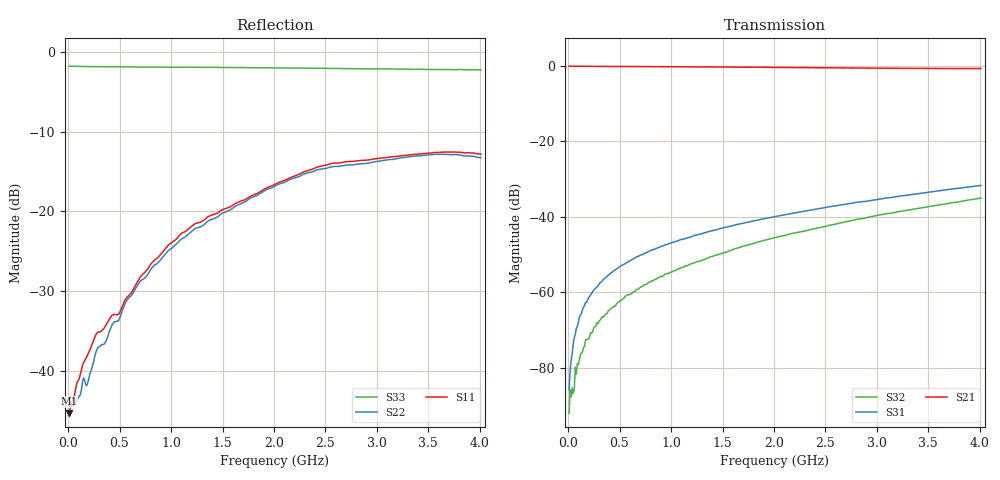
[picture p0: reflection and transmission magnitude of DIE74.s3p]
!Keysight Technologies,N5232A,MY52221226,A.10.49.03
!Date: Wednesday, April 13, 2016 22:14:20
!Correction: S11(Full 6 Port(1,2,3,4,5,6))
!S12(Full 6 Port(1,2,3,4,5,6))
!S13(Full 6 Port(1,2,3,4,5,6))
!S21(Full 6 Port(1,2,3,4,5,6))
!S22(Full 6 Port(1,2,3,4,5,6))
!S23(Full 6 Port(1,2,3,4,5,6))
!S31(Full 6 Port(1,2,3,4,5,6))
!S32(Full 6 Port(1,2,3,4,5,6))
!S33(Full 6 Port(1,2,3,4,5,6))
!S3P File: Measurements: <S11,S12,S13>,
!<S21,S22,S23>,
!<S31,S32,S33>:
# Hz S  dB  R 50
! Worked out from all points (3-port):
!   401 points, 10 MHz to 4.01 GHz, reference 50 ohm
!   strongest paths, dB at 10 MHz, 1.01 GHz, 2.01 GHz, 3.01 GHz, 4.01 GHz:
!     S21: -0.1, -0.3, -0.4, -0.6, -0.7
!     S31: -85.9, -46.8, -40.0, -35.4, -31.7
!     S32: -92.1, -54.6, -45.5, -39.6, -35.0
!   lowest |S11| = -45.3 dB at 10 MHz (marker M1), VSWR 1.01, Z = 50.5 - j0.0934 ohm
!   |S11| at or under -10 dB: start of sweep to end of sweep
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1e7  -45.33 -9.8  -0.11 -0.9  -84.70 70.1
     -0.11 -0.9  -44.34 -7.3  -97.14 41.3
     -85.85 73.4  -92.08 9.5  -1.79 179.2
8e7  -41.83 -26.5  -0.14 -6.4  -69.65 82.8
     -0.14 -6.4  -43.88 -32.2  -80.81 59.9
     -69.60 83.9  -81.73 90.2  -1.81 173.8
1.6e8  -38.75 -54.6  -0.15 -12.6  -63.46 81.0
       -0.15 -12.6  -41.13 -72.3  -74.60 88.8
       -63.43 80.4  -74.38 89.2  -1.83 167.7
4.6e8  -32.96 -101.6  -0.18 -35.9  -54.05 63.2
       -0.19 -35.9  -33.84 -110.8  -63.46 81.3
       -54.05 63.8  -63.65 78.2  -1.85 145.2
1.21e9  -21.74 -172.4  -0.29 -94.0  -45.19 18.5
        -0.29 -93.9  -22.40 174.7  -52.41 39.2
        -45.19 18.4  -52.36 39.1  -1.93 89.8
2.01e9  -16.58 119.5  -0.45 -155.7  -39.98 -32.2
        -0.45 -155.6  -16.80 109.5  -45.57 -10.3
        -39.98 -32.3  -45.51 -10.5  -2.01 31.6
2.55e9  -14.03 80.4  -0.58 162.9  -37.30 -67.5
        -0.59 163.0  -14.43 66.5  -42.24 -47.1
        -37.30 -67.5  -42.23 -47.4  -2.08 -7.5
3.15e9  -13.15 31.5  -0.66 117.0  -34.84 -107.8
        -0.67 117.0  -13.49 22.0  -38.96 -88.5
        -34.85 -107.9  -38.96 -88.6  -2.14 -51.8
3.56e9  -12.60 -0.9  -0.72 85.6  -33.34 -135.9
        -0.72 85.6  -12.85 -8.9  -37.11 -118.6
        -33.28 -136.2  -37.05 -118.9  -2.19 -82.4
4.01e9  -12.82 -33.8  -0.74 50.9  -31.69 -168.0
        -0.74 50.9  -13.26 -39.9  -35.03 -151.7
        -31.70 -167.8  -35.04 -151.6  -2.26 -116.9
